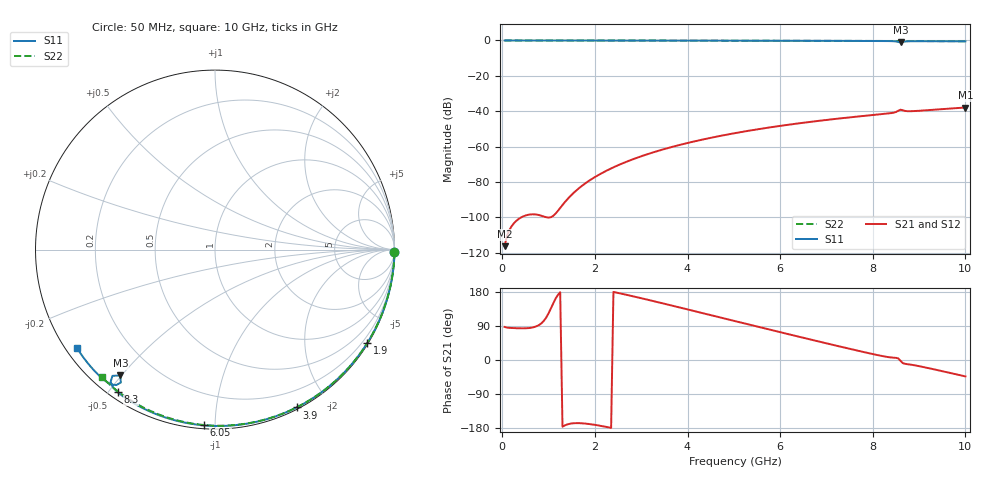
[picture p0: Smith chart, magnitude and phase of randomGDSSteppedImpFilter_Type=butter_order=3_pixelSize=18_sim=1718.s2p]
! freq	dB(S11)	phase(S11)	dB(S12)	phase(S12)
!  dB(S21)	phase(S21)	dB(S22)	phase(S22)
!S-par simulation data
#  GHz  S  DB  R 50
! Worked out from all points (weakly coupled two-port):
!   200 points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, 50 MHz to 10 GHz, reference 50 ohm
!   highest |S21| = -37.90 dB at 10 GHz (marker M1); lowest = -116.3 dB at 50 MHz (marker M2)
!   lowest |S11| = -1.1 dB at 8.6 GHz (marker M3), VSWR 15.32, Z = 4.07 - j24.8 ohm
!   |S11| at or under -10 dB: nowhere
!   |S22| runs from -0.4 to 0.0 dB; largest |S21 - S12| = 0
!   S11 on the Smith chart (normalised r, x): 50 MHz: open; 1.9 GHz: 0.03, -3.55; 3.9 GHz: 0.02, -1.64; 6.05 GHz: 0.02, -0.94; 8.3 GHz: 0.02, -0.53; 10 GHz: 0.03, -0.32
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0.05  -0.00 -0.8  -116.26 87.2  -116.26 87.2  -0.00 -0.8
0.9  -0.02 -15.1  -99.53 103.7  -99.53 103.7  -0.02 -13.6
1.75  -0.04 -29.0  -81.57 -167.3  -81.57 -167.3  -0.03 -26.3
1.85  -0.04 -30.6  -79.71 -168.6  -79.71 -168.6  -0.04 -27.7
1.9  -0.04 -31.4  -78.84 -169.3  -78.84 -169.3  -0.04 -28.5
2.2  -0.05 -36.3  -74.28 -175.5  -74.28 -175.5  -0.04 -32.8
2.55  -0.05 -41.8  -69.97 175.6  -69.97 175.6  -0.05 -37.9
2.95  -0.06 -48.1  -65.91 164.5  -65.91 164.5  -0.06 -43.6
3.4  -0.07 -55.1  -62.12 151.4  -62.12 151.4  -0.07 -50.0
3.9  -0.09 -62.7  -58.59 136.5  -58.59 136.5  -0.08 -56.9
5.05  -0.12 -79.5  -52.26 101.9  -52.26 101.9  -0.11 -72.3
6.05  -0.16 -93.6  -48.10 71.9  -48.10 71.9  -0.15 -85.1
6.7  -0.20 -102.4  -45.85 52.7  -45.85 52.7  -0.18 -93.1
7.55  -0.25 -113.8  -43.33 28.1  -43.33 28.1  -0.23 -103.4
8.3  -0.34 -124.3  -41.38 8.3  -41.38 8.3  -0.28 -112.1
8.35  -0.36 -125.1  -41.23 7.3  -41.23 7.3  -0.29 -112.7
8.5  -0.56 -128.3  -40.44 5.7  -40.44 5.7  -0.30 -114.4
8.6  -1.14 -127.0  -39.12 -2.3  -39.12 -2.3  -0.31 -115.6
8.65  -0.84 -125.3  -39.47 -8.3  -39.47 -8.3  -0.31 -116.2
8.75  -0.50 -127.1  -39.98 -11.0  -39.98 -11.0  -0.32 -117.3
9.2  -0.42 -134.1  -39.38 -21.4  -39.38 -21.4  -0.36 -122.4
10  -0.50 -144.6  -37.90 -43.3  -37.90 -43.3  -0.44 -131.5
